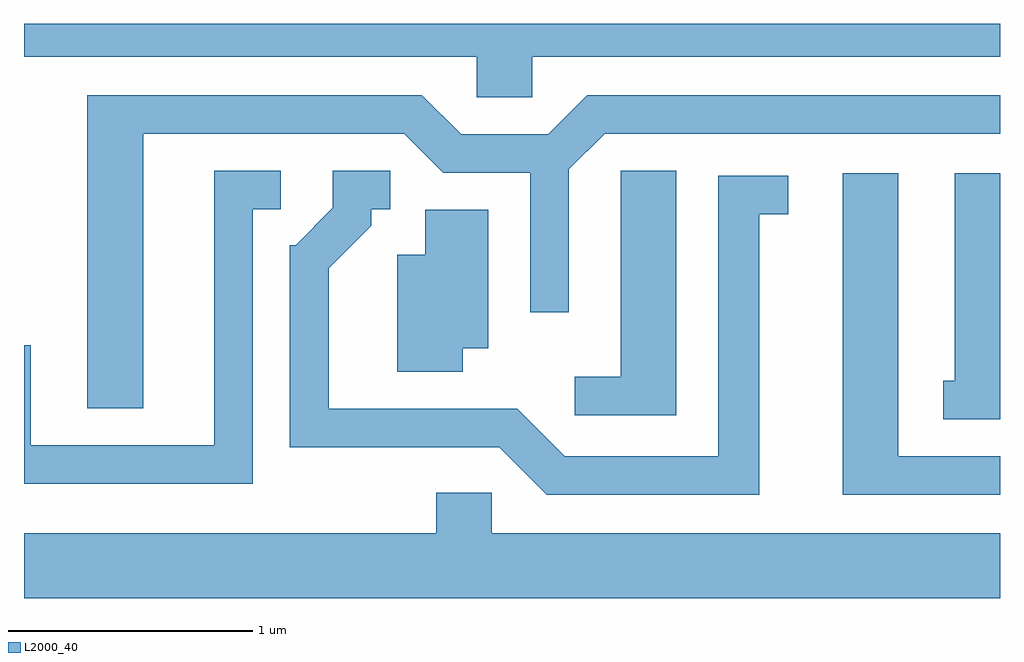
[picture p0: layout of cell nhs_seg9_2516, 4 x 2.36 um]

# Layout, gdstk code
import gdstk
lib = gdstk.Library(unit=1e-6, precision=1e-09)
def P(c, l, *ps):  # polygons
    for p in ps: c.add(gdstk.Polygon(p, *l))
L2000_40 = (2000, 40)

nhs_seg9_2516 = lib.new_cell('nhs_seg9_2516')
P(nhs_seg9_2516, L2000_40, [(261.694,1956.296),(263.611,1956.296),(263.611,1956.432),(259.611,1956.432),(259.611,1956.296),(261.466,1956.296),(261.466,1956.131),(261.694,1956.131)],
  [(260.099,1955.981),(261.169,1955.981),(261.329,1955.821),(261.686,1955.821),(261.686,1955.248),(261.844,1955.248),(261.844,1955.834),(261.992,1955.981),(263.611,1955.981),(263.611,1956.139),(261.919,1956.139),(261.759,1955.979),(261.402,1955.979),(261.242,1956.139),(259.871,1956.139),(259.871,1954.856),(260.099,1954.856)],
  [(262.284,1955.829),(262.056,1955.829),(262.056,1954.984),(261.868,1954.984),(261.868,1954.826),(262.284,1954.826)],
  [(262.624,1955.651),(262.743,1955.651),(262.743,1955.809),(262.456,1955.809),(262.456,1954.659),(261.827,1954.659),(261.632,1954.854),(260.859,1954.854),(260.859,1955.429),(261.034,1955.604),(261.034,1955.671),(261.113,1955.671),(261.113,1955.829),(260.876,1955.829),(260.876,1955.677),(260.724,1955.524),(260.701,1955.524),(260.701,1954.696),(261.558,1954.696),(261.754,1954.501),(262.624,1954.501)],
  [(260.549,1955.671),(260.663,1955.671),(260.663,1955.829),(260.391,1955.829),(260.391,1954.704),(259.639,1954.704),(259.639,1955.114),(259.611,1955.114),(259.611,1954.546),(260.549,1954.546)],
  [(263.611,1954.659),(263.194,1954.659),(263.194,1955.819),(262.966,1955.819),(262.966,1954.501),(263.611,1954.501)],
  [(263.611,1955.819),(263.426,1955.819),(263.426,1954.969),(263.378,1954.969),(263.378,1954.811),(263.611,1954.811)],
  [(261.409,1955.101),(261.514,1955.101),(261.514,1955.669),(261.256,1955.669),(261.256,1955.484),(261.141,1955.484),(261.141,1955.006),(261.409,1955.006)],
  [(263.611,1954.344),(261.529,1954.344),(261.529,1954.509),(261.301,1954.509),(261.301,1954.344),(259.611,1954.344),(259.611,1954.076),(263.611,1954.076)])

lib.write_gds('nhs_seg9_2516.gds')
